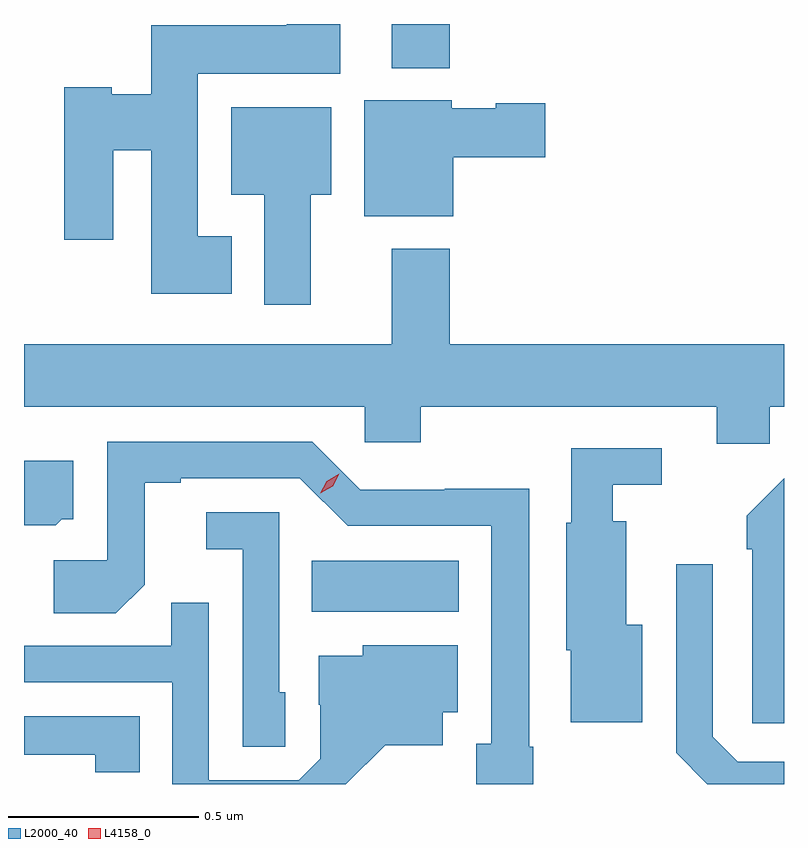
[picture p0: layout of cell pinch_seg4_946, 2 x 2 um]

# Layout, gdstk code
import gdstk
lib = gdstk.Library(unit=1e-6, precision=1e-09)
def R(c, l, rs):  # rectangles x0, y0, x1, y1
    for r in rs: c.add(gdstk.rectangle(r[:2], r[2:], *l))
def P(c, l, *ps):  # polygons
    for p in ps: c.add(gdstk.Polygon(p, *l))
L2000_40 = (2000, 40)
L4158_0 = (4158, 0)

pinch_seg4_946 = lib.new_cell('pinch_seg4_946')
R(pinch_seg4_946, L2000_40, [(657.958,797.612,658.345,797.746), (658.169,799.043,658.322,799.159)])
P(pinch_seg4_946, L2000_40, [(657.748,798.601),(657.658,798.601),(657.658,799.028),(658.033,799.028),(658.033,799.159),(657.893,799.159),(657.893,799.156),(657.536,799.156),(657.536,798.974),(657.432,798.974),(657.432,798.992),(657.307,798.992),(657.307,798.591),(657.436,798.591),(657.436,798.827),(657.536,798.827),(657.536,798.449),(657.748,798.449)],
  [(658.33,798.808),(658.573,798.808),(658.573,798.95),(658.443,798.95),(658.443,798.937),(658.326,798.937),(658.326,798.958),(658.097,798.958),(658.097,798.653),(658.33,798.653)],
  [(657.955,798.71),(658.009,798.71),(658.009,798.94),(657.746,798.94),(657.746,798.71),(657.833,798.71),(657.833,798.42),(657.955,798.42)],
  [(659.163,798.152),(659.201,798.152),(659.201,798.316),(658.322,798.316),(658.322,798.568),(658.169,798.568),(658.169,798.316),(657.201,798.316),(657.201,798.152),(658.098,798.152),(658.098,798.059),(658.245,798.059),(658.245,798.152),(659.024,798.152),(659.024,798.054),(659.163,798.054)],
  [(658.541,797.257),(658.531,797.257),(658.531,797.936),(658.308,797.936),(658.308,797.934),(658.086,797.934),(657.96,798.06),(657.42,798.06),(657.42,797.748),(657.279,797.748),(657.279,797.608),(657.443,797.608),(657.519,797.684),(657.519,797.952),(657.613,797.952),(657.613,797.964),(657.927,797.964),(658.053,797.838),(658.43,797.838),(658.43,797.265),(658.391,797.265),(658.391,797.159),(658.541,797.159)],
  [(658.828,797.578),(658.786,797.578),(658.786,797.851),(658.75,797.851),(658.75,797.946),(658.879,797.946),(658.879,798.042),(658.641,798.042),(658.641,797.847),(658.628,797.847),(658.628,797.511),(658.64,797.511),(658.64,797.321),(658.828,797.321)],
  [(657.3,797.856),(657.331,797.856),(657.331,798.01),(657.201,798.01),(657.201,797.84),(657.284,797.84)],
  [(659.201,797.963),(659.103,797.865),(659.103,797.777),(659.118,797.777),(659.118,797.319),(659.201,797.319)],
  [(657.888,797.4),(657.873,797.4),(657.873,797.874),(657.681,797.874),(657.681,797.777),(657.777,797.777),(657.777,797.257),(657.888,797.257)],
  [(659.201,797.217),(659.079,797.217),(659.013,797.283),(659.013,797.737),(658.917,797.737),(658.917,797.241),(658.999,797.159),(659.201,797.159)],
  [(658.151,797.261),(658.303,797.261),(658.303,797.348),(658.342,797.348),(658.342,797.524),(658.092,797.524),(658.092,797.497),(657.977,797.497),(657.977,797.368),(657.981,797.368),(657.981,797.226),(657.924,797.169),(657.687,797.169),(657.687,797.636),(657.589,797.636),(657.589,797.523),(657.201,797.523),(657.201,797.427),(657.591,797.427),(657.591,797.159),(658.048,797.159)],
  [(657.506,797.337),(657.201,797.337),(657.201,797.236),(657.388,797.236),(657.388,797.19),(657.506,797.19)])
P(pinch_seg4_946, L4158_0, [(657.981,797.924),(657.981,797.924),(657.998,797.956),(658.03,797.975),(658.031,797.975),(658.031,797.975),(658.013,797.942),(657.981,797.924)])

lib.write_gds('pinch_seg4_946.gds')
